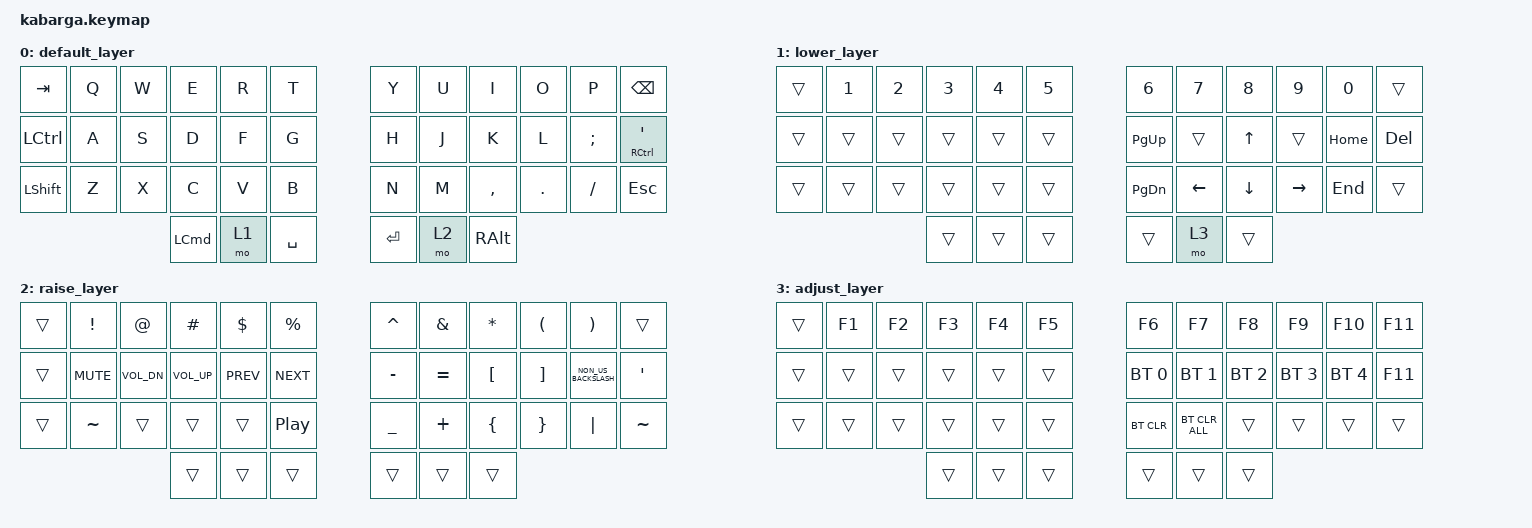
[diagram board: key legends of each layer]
/*
 * Copyright (c) 2020 The ZMK Contributors
 *
 * SPDX-License-Identifier: MIT
 */

#include <behaviors.dtsi>
#include <dt-bindings/zmk/bt.h>
#include <dt-bindings/zmk/keys.h>

#define DEF 0
#define LWR 1
#define RSE 2
#define ADJ 3

&lt { quick_tap_ms = <220>; };

&mt { quick_tap_ms = <220>; };

/ {
    macros {
        numdot: numdot {
            label = "ZM_numdot";
            compatible = "zmk,behavior-macro";
            #binding-cells = <0>;
            wait-ms = <40>;
            tap-ms = <40>;
            bindings =
                <&macro_press>,
                <&kp LALT>,
                <&macro_tap>,
                <&kp KP_N4 &kp KP_N6>,
                <&macro_release>,
                <&kp LALT>;
        };

        grtsgn: grtsgn {
            label = "ZM_grtsgn";
            compatible = "zmk,behavior-macro";
            #binding-cells = <0>;
            wait-ms = <40>;
            tap-ms = <40>;
            bindings =
                <&macro_press>,
                <&kp LALT>,
                <&macro_tap>,
                <&kp KP_N6 &kp KP_N2>,
                <&macro_release>,
                <&kp LALT>;
        };
    };
};

/ {
    keymap {
        compatible = "zmk,keymap";

        default_layer {
            // ------------------------------------------------------------------------------------------------
            //| LGUI/] |  Q  |  W  |  E  |  R  |  T  |   |  Y  |  U   |  I  |  O  |  P  | RGUI/[ | 
            //| CTRL/` |  A  |  S  |  D  |  F  |  G  |   |  H  |  J   |  K  |  L  |  ;  | CTRL/' |
            //| LALT/\ |  Z  |  X  |  C  |  V  |  B  |   |  N  |  M   |  ,  |  .  |  /  | RALT/- |
            //                             | RSE | SPC | LWR |   | LWR | BKSP | RSE |

            bindings = <
&kp TAB         &kp Q  &kp W  &kp E             &kp R  &kp T      &kp Y  &kp U      &kp I      &kp O          &kp P     &kp BACKSPACE
&kp LCTRL       &kp A  &kp S  &kp D             &kp F  &kp G      &kp H  &kp J      &kp K      &kp L          &kp SEMI  &mt RCTRL SQT
&kp LEFT_SHIFT  &kp Z  &kp X  &kp C             &kp V  &kp B      &kp N  &kp M      &kp COMMA  &kp DOT        &kp FSLH  &kp ESCAPE
                              &kp LEFT_COMMAND  &mo 1  &kp SPACE         &kp ENTER  &mo 2      &kp RIGHT_ALT
            >;
        };

        lower_layer {
            // -----------------------------------------------------------------------------------------
            //|LGUI/CAPS |  *  |  7 |  8  |  9  |  +  |    |  !  |  @  |  #  |  $  |  %  | RGUI/F1 |
            //|CTRL/MENU |  /  |  4 |  5  |  6  |  -  |    |  ^  |  &  |  *  |  (  |  )  | CTRL/F2 |
            //|  LALT/=  |  0  |  1 |  4  |  3  |  .  |    |  ls |  F4 |  F5 |  F6 |  F7 | RALT/F3 |
            //                      | ADJ | ___ | ___ |    | ___ | ___ | ADJ |

            bindings = <
&trans  &kp NUMBER_1  &kp NUMBER_2  &kp NUMBER_3  &kp NUMBER_4  &kp NUMBER_5  &kp NUMBER_6   &kp NUMBER_7    &kp NUMBER_8    &kp NUMBER_9     &kp NUMBER_0  &trans
&trans  &trans        &trans        &trans        &trans        &trans        &kp PAGE_UP    &trans          &kp UP_ARROW    &trans           &kp HOME      &kp DELETE
&trans  &trans        &trans        &trans        &trans        &trans        &kp PAGE_DOWN  &kp LEFT_ARROW  &kp DOWN_ARROW  &kp RIGHT_ARROW  &kp END       &trans
                                    &trans        &trans        &trans                       &trans          &mo 3           &trans
            >;
        };

        raise_layer {
            // -----------------------------------------------------------------------------------------
            //| LGUI |  VOLU  |  PGUP  | PLAY | HOME | ___  |            | ___  | HOME | PLAY| PGUP | VOLU | RGUI |
            //| CTRL |  VOLD  |  LEFT  |  UP  | DOWN | RGHT |            | RGHT | DOWN | UP  | LEFT | VOLD | CTRL | 
            //| LALT |  MUTE  |  PGDN  |  ___ | END  | ___  |            | ___  | END  | ___ | PGDN | MUTE | RALT |
            //                          | ___ | ___  | ADJ  |            | ADJ  | ___  | ___ |

            bindings = <
&trans  &kp EXCLAMATION  &kp AT_SIGN   &kp HASH      &kp DOLLAR  &kp PERCENT  &kp CARET       &kp AMPERSAND  &kp ASTERISK      &kp LEFT_PARENTHESIS  &kp RIGHT_PARENTHESIS  &trans
&trans  &kp K_MUTE       &kp C_VOL_DN  &kp C_VOL_UP  &kp C_PREV  &kp C_NEXT   &kp MINUS       &kp EQUAL      &kp LEFT_BRACKET  &kp RIGHT_BRACKET     &kp NON_US_BACKSLASH   &kp SQT
&trans  &kp TILDE        &trans        &trans        &trans      &kp C_PP     &kp UNDERSCORE  &kp PLUS       &kp LEFT_BRACE    &kp RIGHT_BRACE       &kp PIPE               &kp TILDE
                                       &trans        &trans      &trans                       &trans         &trans            &trans
            >;
        };

        adjust_layer {
            // -----------------------------------------------------------------------------------------
            //| BLDR |     |     |     |     |     |   |     |     |     |     |     | BLDR |
            //| BTCLR| BT0 | BT1 | BT2 | BT3 | BT4 |   | BT4 | BT3 | BT2 | BT1 | BT0 | BTCLR|
            //|pwrOFF|NUMLK|     |     |     |     |   |     |     |     |     |     |      |
            //                   |     |     |     |   |     |     |     |

            bindings = <
&trans  &kp F1  &kp F2  &kp F3  &kp F4  &kp F5  &kp F6        &kp F7          &kp F8        &kp F9        &kp F10       &kp F11
&trans  &trans  &trans  &trans  &trans  &trans  &bt BT_SEL 0  &bt BT_SEL 1    &bt BT_SEL 2  &bt BT_SEL 3  &bt BT_SEL 4  &kp F11
&trans  &trans  &trans  &trans  &trans  &trans  &bt BT_CLR    &bt BT_CLR_ALL  &trans        &trans        &trans        &trans
                        &trans  &trans  &trans                &trans          &trans        &trans
            >;
        };
    };
};
